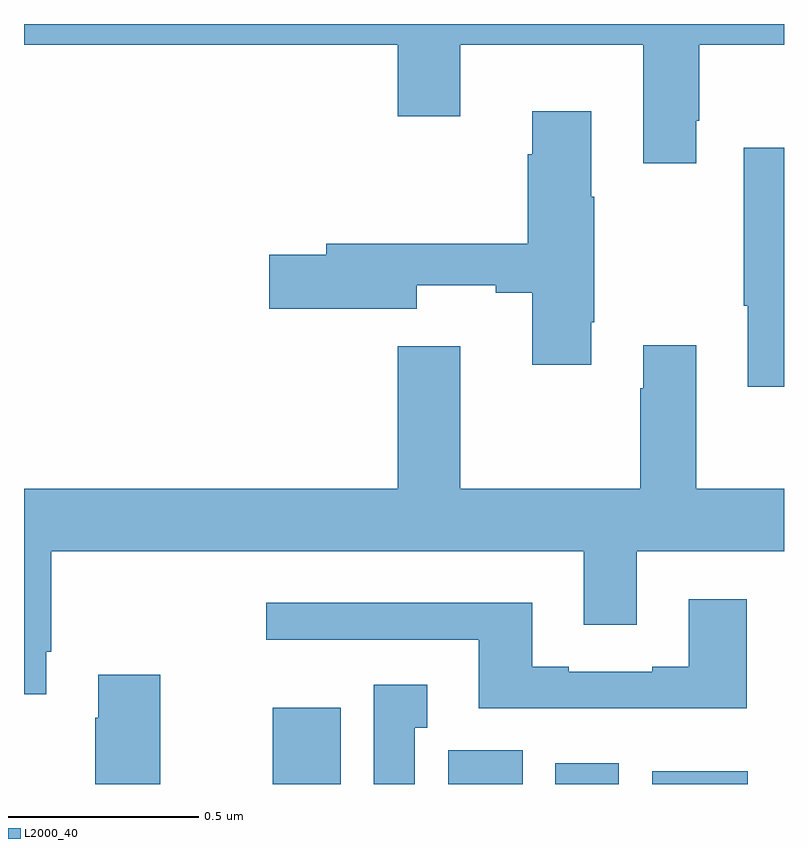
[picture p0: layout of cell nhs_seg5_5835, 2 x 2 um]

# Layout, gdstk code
import gdstk
lib = gdstk.Library(unit=1e-6, precision=1e-09)
def R(c, l, rs):  # rectangles x0, y0, x1, y1
    for r in rs: c.add(gdstk.rectangle(r[:2], r[2:], *l))
def P(c, l, *ps):  # polygons
    for p in ps: c.add(gdstk.Polygon(p, *l))
L2000_40 = (2000, 40)

nhs_seg5_5835 = lib.new_cell('nhs_seg5_5835')
R(nhs_seg5_5835, L2000_40, [(188.654,870.799,188.833,871), (189.117,870.799,189.313,870.888), (189.398,870.799,189.565,870.853), (189.653,870.799,189.904,870.832)])
P(nhs_seg5_5835, L2000_40, [(189.769,872.545),(189.777,872.545),(189.777,872.744),(190,872.744),(190,872.799),(188,872.799),(188,872.744),(188.984,872.744),(188.984,872.556),(189.148,872.556),(189.148,872.744),(189.629,872.744),(189.629,872.433),(189.769,872.433)],
  [(189.493,872.014),(189.501,872.014),(189.501,872.345),(189.493,872.345),(189.493,872.569),(189.338,872.569),(189.338,872.456),(189.326,872.456),(189.326,872.221),(188.795,872.221),(188.795,872.192),(188.646,872.192),(188.646,872.05),(189.034,872.05),(189.034,872.111),(189.242,872.111),(189.242,872.092),(189.338,872.092),(189.338,871.902),(189.493,871.902)],
  [(190,872.473),(189.894,872.473),(189.894,872.057),(189.905,872.057),(189.905,871.845),(190,871.845)],
  [(188.059,871.147),(188.072,871.147),(188.072,871.412),(189.473,871.412),(189.473,871.218),(189.613,871.218),(189.613,871.412),(190,871.412),(190,871.576),(189.769,871.576),(189.769,871.954),(189.629,871.954),(189.629,871.841),(189.622,871.841),(189.622,871.576),(189.148,871.576),(189.148,871.951),(188.984,871.951),(188.984,871.576),(188,871.576),(188,871.035),(188.059,871.035)],
  [(189.902,871.285),(189.749,871.285),(189.749,871.108),(189.653,871.108),(189.653,871.095),(189.433,871.095),(189.433,871.108),(189.337,871.108),(189.337,871.276),(188.637,871.276),(188.637,871.179),(189.197,871.179),(189.197,870.998),(189.902,870.998)],
  [(188.358,871.087),(188.195,871.087),(188.195,870.974),(188.188,870.974),(188.188,870.799),(188.358,870.799)],
  [(189.028,870.947),(189.061,870.947),(189.061,871.06),(188.921,871.06),(188.921,870.799),(189.028,870.799)])

lib.write_gds('nhs_seg5_5835.gds')
